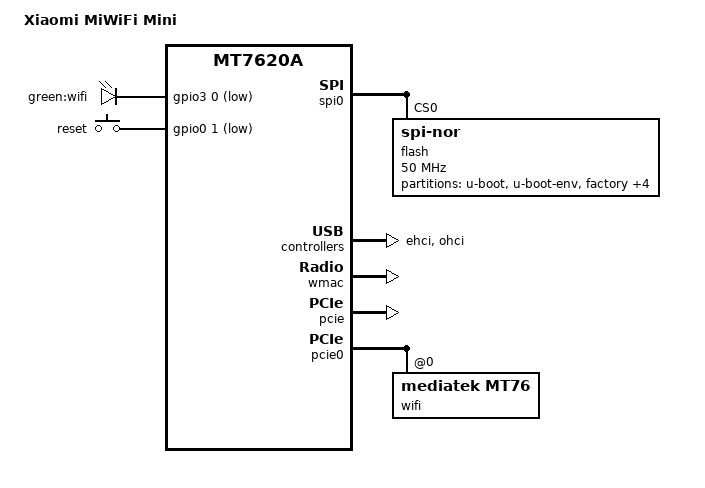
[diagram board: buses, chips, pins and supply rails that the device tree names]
#include "mt7620a.dtsi"

#include <dt-bindings/gpio/gpio.h>
#include <dt-bindings/input/input.h>
#include <dt-bindings/leds/common.h>

/ {
	compatible = "xiaomi,miwifi-mini", "ralink,mt7620a-soc";
	model = "Xiaomi MiWiFi Mini";


	chosen {
		bootargs = "console=ttyS0,115200";
	};

	leds {
		compatible = "gpio-leds";

		air {
			label = "green:wifi";
			gpios = <&gpio3 0 GPIO_ACTIVE_LOW>;
			default-state = "on";
			linux,default-trigger = "phy0tx";
		};
	};

	keys {
		compatible = "gpio-keys";

		reset {
			label = "reset";
			gpios = <&gpio0 1 GPIO_ACTIVE_LOW>;
			linux,code = <KEY_RESTART>;
			debounce-interval = <60>;
		};
	};
};

&gpio0 {
	status = "okay";
};

&gpio1 {
	status = "okay";
};

&gpio2 {
	status = "okay";
};

&gpio3 {
	status = "okay";
};

&spi0 {
	status = "okay";

	flash@0 {
		compatible = "jedec,spi-nor";
		reg = <0>;
		spi-max-frequency = <50000000>;
		m25p,fast-read;

		partitions {
			compatible = "fixed-partitions";
			#address-cells = <1>;
			#size-cells = <1>;

			partition@0 {
				label = "u-boot";
				reg = <0x0 0x30000>;
				read-only;
			};

			partition@30000 {
				label = "u-boot-env";
				reg = <0x30000 0x10000>;
			};

			partition@40000 {
				label = "factory";
				reg = <0x40000 0x10000>;
				read-only;

				nvmem-layout {
					compatible = "fixed-layout";
					#address-cells = <1>;
					#size-cells = <1>;

					eeprom_factory_0: eeprom@0 {
						reg = <0x0 0x200>;
					};

					eeprom_factory_8000: eeprom@8000 {
						reg = <0x8000 0x200>;
					};

					macaddr_factory_28: macaddr@28 {
						reg = <0x28 0x6>;
					};
				};
			};

			partition@50000 {
				compatible = "denx,uimage";
				label = "firmware";
				reg = <0x50000 0x1fb0000>;
			};

			partition@fd0000 {
				label = "crash";
				reg = <0xfd0000 0x10000>;
			};

			partition@fe0000 {
				label = "reserved";
				reg = <0xfe0000 0x10000>;
				read-only;
			};

			partition@ff0000 {
				label = "Bdata";
				reg = <0xff0000 0x10000>;
			};
		};
	};
};

&ehci {
	status = "okay";
};

&ohci {
	status = "okay";
};

&ethernet {
	nvmem-cells = <&macaddr_factory_28>;
	nvmem-cell-names = "mac-address";

	mediatek,portmap = "wllll";
};

&wmac {
	pinctrl-names = "default", "pa_gpio";
	pinctrl-0 = <&pa_pins>;
	pinctrl-1 = <&pa_gpio_pins>;
	nvmem-cells = <&eeprom_factory_0>;
	nvmem-cell-names = "eeprom";
};

&pcie {
	status = "okay";
};

&pcie0 {
	wifi@0,0 {
		compatible = "mediatek,mt76";
		reg = <0x0000 0 0 0 0>;
		nvmem-cells = <&eeprom_factory_8000>;
		nvmem-cell-names = "eeprom";
		ieee80211-freq-limit = <5000000 6000000>;
	};
};

&state_default {
	gpio {
		groups = "ephy", "i2c", "rgmii1";
		function = "gpio";
	};
};
